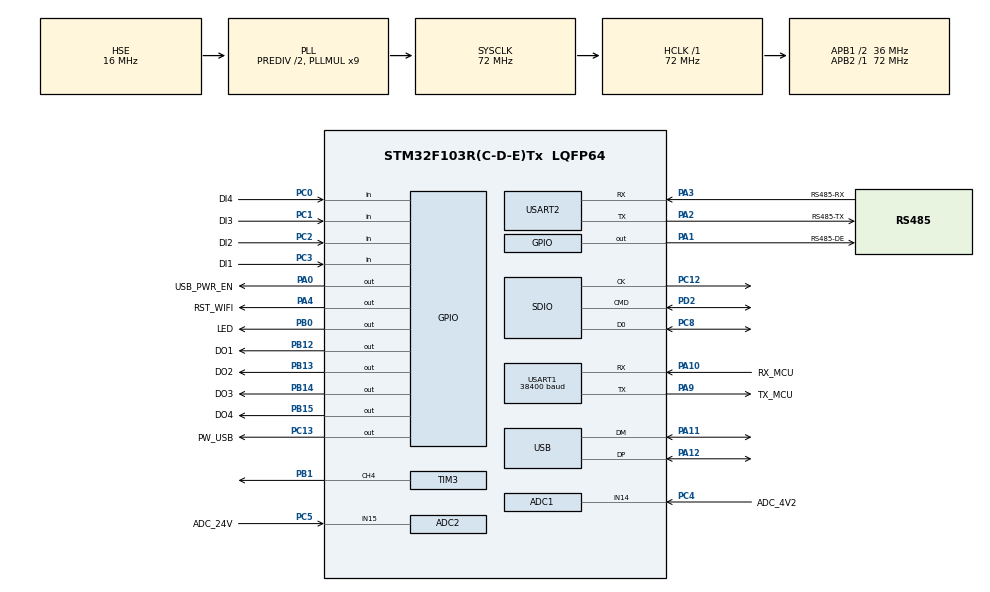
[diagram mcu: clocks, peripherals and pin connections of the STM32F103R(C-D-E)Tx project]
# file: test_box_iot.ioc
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ADC1.Channel-0\#ChannelRegularConversion=ADC_CHANNEL_14
ADC1.NbrOfConversionFlag=1
ADC1.Rank-0\#ChannelRegularConversion=1
ADC1.SamplingTime-0\#ChannelRegularConversion=ADC_SAMPLETIME_239CYCLES_5
ADC1.master=1
ADC2.Channel-0\#ChannelRegularConversion=ADC_CHANNEL_15
ADC2.NbrOfConversionFlag=1
ADC2.Rank-0\#ChannelRegularConversion=1
ADC2.SamplingTime-0\#ChannelRegularConversion=ADC_SAMPLETIME_239CYCLES_5
FATFS._MAX_SS=1024
IWDG.Prescaler=IWDG_PRESCALER_256
Mcu.Family=STM32F1
Mcu.Name=STM32F103R(C-D-E)Tx
Mcu.Package=LQFP64
NVIC.PriorityGroup=NVIC_PRIORITYGROUP_4
NVIC.SDIO_IRQn=true\:0\:0\:false\:false\:true\:true\:true\:true
NVIC.USART1_IRQn=true\:0\:0\:false\:false\:true\:true\:true\:true
NVIC.USB_HP_CAN1_TX_IRQn=true\:0\:0\:false\:false\:true\:true\:true\:true
NVIC.USB_LP_CAN1_RX0_IRQn=true\:0\:0\:false\:false\:true\:false\:true\:true
PA0-WKUP.GPIO_Label=USB_PWR_EN
PA0-WKUP.PinState=GPIO_PIN_SET
PA0-WKUP.Signal=GPIO_Output
PA1.GPIO_Label=RS485-DE
PA1.Signal=GPIO_Output
PA10.GPIO_Label=RX_MCU
PA10.Mode=Asynchronous
PA10.Signal=USART1_RX
PA11.Mode=Device
PA11.Signal=USB_DM
PA12.Mode=Device
PA12.Signal=USB_DP
PA13.Mode=Serial_Wire
PA13.Signal=SYS_JTMS-SWDIO
PA14.Mode=Serial_Wire
PA14.Signal=SYS_JTCK-SWCLK
PA2.GPIO_Label=RS485-TX
PA2.Mode=Asynchronous
PA2.Signal=USART2_TX
PA3.GPIO_Label=RS485-RX
PA3.Mode=Asynchronous
PA3.Signal=USART2_RX
PA4.GPIO_Label=RST_WIFI
PA4.PinState=GPIO_PIN_SET
PA4.Signal=GPIO_Output
PA9.GPIO_Label=TX_MCU
PA9.Mode=Asynchronous
PA9.Signal=USART1_TX
PB0.GPIO_Label=LED
PB0.Signal=GPIO_Output
PB1.Signal=S_TIM3_CH4
PB12.GPIO_Label=DO1
PB12.Signal=GPIO_Output
PB13.GPIO_Label=DO2
PB13.Signal=GPIO_Output
PB14.GPIO_Label=DO3
PB14.Signal=GPIO_Output
PB15.GPIO_Label=DO4
PB15.Signal=GPIO_Output
PC0.GPIO_Label=DI4
PC0.Signal=GPIO_Input
PC1.GPIO_Label=DI3
PC1.Signal=GPIO_Input
PC12.Mode=SD_1_bit
PC12.Signal=SDIO_CK
PC13-TAMPER-RTC.GPIO_Label=PW_USB
PC13-TAMPER-RTC.PinState=GPIO_PIN_SET
PC13-TAMPER-RTC.Signal=GPIO_Output
PC2.GPIO_Label=DI2
PC2.Signal=GPIO_Input
PC3.GPIO_Label=DI1
PC3.Signal=GPIO_Input
PC4.GPIO_Label=ADC_4V2
PC4.Signal=ADCx_IN14
PC5.GPIO_Label=ADC_24V
PC5.Signal=ADCx_IN15
PC8.Mode=SD_1_bit
PC8.Signal=SDIO_D0
PD0-OSC_IN.Mode=HSE-External-Oscillator
PD0-OSC_IN.Signal=RCC_OSC_IN
PD1-OSC_OUT.Mode=HSE-External-Oscillator
PD1-OSC_OUT.Signal=RCC_OSC_OUT
PD2.Mode=SD_1_bit
PD2.Signal=SDIO_CMD
ProjectManager.HeapSize=0x200
ProjectManager.StackSize=0x400
ProjectManager.TargetToolchain=STM32CubeIDE
RCC.ADCPresc=RCC_ADCPCLK2_DIV6
RCC.AHBFreq_Value=72000000
RCC.APB1CLKDivider=RCC_HCLK_DIV2
RCC.APB1Freq_Value=36000000
RCC.APB1TimFreq_Value=72000000
RCC.APB2Freq_Value=72000000
RCC.APB2TimFreq_Value=72000000
RCC.HCLKFreq_Value=72000000
RCC.HSEDivPLL=RCC_HSE_PREDIV_DIV2
RCC.HSE_VALUE=16000000
RCC.PLLMUL=RCC_PLL_MUL9
RCC.PLLSourceVirtual=RCC_PLLSOURCE_HSE
RCC.RTCClockSelection=RCC_RTCCLKSOURCE_HSE_DIV128
RCC.SYSCLKFreq_VALUE=72000000
RCC.SYSCLKSource=RCC_SYSCLKSOURCE_PLLCLK
RCC.USBFreq_Value=48000000
RCC.USBPrescaler=RCC_USBCLKSOURCE_PLL_DIV1_5
SDIO.ClockDiv=16
SH.ADCx_IN14.0=ADC1_IN14,IN14
SH.ADCx_IN15.0=ADC2_IN15,IN15
SH.S_TIM3_CH4.0=TIM3_CH4,PWM Generation4 CH4
TIM3.Channel-PWM\ Generation4\ CH4=TIM_CHANNEL_4
TIM3.Period=2000-1
TIM3.Prescaler=18000-1
USART1.BaudRate=38400
USART1.Parity=PARITY_NONE
USART1.VirtualMode=VM_ASYNC
USART2.VirtualMode=VM_ASYNC
USB.low_power_enable=DISABLE
USB.lpm_enable=DISABLE
USB_DEVICE.CLASS_NAME_FS=MSC
USB_DEVICE.MANUFACTURER_STRING=AiThings
USB_DEVICE.PRODUCT_STRING_MSC_FS=AiThings Mass Storage
USB_DEVICE.USBD_DEBUG_LEVEL=0
USB_DEVICE.USBD_SELF_POWERED=1
USB_DEVICE.VirtualMode=Msc
USB_DEVICE.VirtualModeFS=Msc_FS
VP_CRC_VS_CRC.Mode=CRC_Activate
VP_FATFS_VS_Generic.Mode=User_defined
VP_FATFS_VS_SDIO.Mode=SDIO
VP_IWDG_VS_IWDG.Mode=IWDG_Activate
VP_USB_DEVICE_VS_USB_DEVICE_MSC_FS.Mode=MSC_FS
board=custom

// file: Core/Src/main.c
/* USER CODE BEGIN Header */
/**
  ******************************************************************************
  * @file           : main.c
  * @brief          : Main program body
  ******************************************************************************
  * @attention
  *
  * Copyright (c) 2024 STMicroelectronics.
  * All rights reserved.
  *
  * This software is licensed under terms that can be found in the LICENSE file
  * in the root directory of this software component.
  * If no LICENSE file comes with this software, it is provided AS-IS.
  *
  ******************************************************************************
  */
/* USER CODE END Header */
#include "main.h"
#include "fatfs.h"
#include "usb_device.h"

/* USER CODE BEGIN Includes */
#include "FAT12.h"
#include "usbd_storage_if.h"
#include "espcomm.h"
#include "usbd_core.h"
#include "FLASH_PAGE_F1.h"
#include "time.h"
#include "devicetype.h"

#define ADDR_APP_PROGRAM 0x08005000
#define CRC32_POLYNOMIAL 0x04C11DB7

extern uint8_t flag_handle_csv;
extern uint8_t buffer[];
extern uint32_t usbTick;
extern uint8_t usbStatus;
extern uint32_t g_24V_mV;
extern uint32_t g_4V2_mV;
//uint8_t usb_reconnect=0;
char g_rx1_char;
uint8_t g_debugEnable=0;
Time hallet_time={

                .year=2014,
                .month=11,
                .day = 25,
                .hour = 16,
                .minute = 47,
                .second = 30
        };
uint32_t g_NbSector;
uint8_t g_forcesend=0;
uint8_t g_isMqttPublished=0;
uint32_t g_espcomm_tick=0;
uint32_t g_device_tick=0;
uint32_t g_adc_tick=0;
LIFO_inst g_q;
uint32_t SD_DATA_SECTOR_BEGIN =0;
uint32_t SD_DATA_SECTOR_END =0;
//Dành cho ota
extern uint8_t g_ota;
extern uint8_t Timer_frame_ota;
/* USER CODE END Includes */

/* USER CODE BEGIN PTD */
volatile uint8_t SCI1_rxdone=0;
uint16_t g_rx1_cnt;
uint8_t cntTimeRev1;
char g_rx1_buffer[MAX_BUFFER_UART1];
uint8_t usb_retry=0;
//RTC_TimeTypeDef sTime = {0};
//RTC_DateTypeDef sDate={0};
/* USER CODE END PTD */

ADC_HandleTypeDef hadc1;
ADC_HandleTypeDef hadc2;

CRC_HandleTypeDef hcrc;

IWDG_HandleTypeDef hiwdg;

SD_HandleTypeDef hsd;

TIM_HandleTypeDef htim3;

UART_HandleTypeDef huart1;
UART_HandleTypeDef huart2;

void SystemClock_Config(void);
static void MX_GPIO_Init(void);
static void MX_USART1_UART_Init(void);
static void MX_USART2_UART_Init(void);
static void MX_SDIO_SD_Init(void);
static void MX_CRC_Init(void);
static void MX_TIM3_Init(void);
static void MX_ADC1_Init(void);
static void MX_ADC2_Init(void);
static void MX_IWDG_Init(void);
/* USER CODE BEGIN PFP */
Time g_time ={0};
uint16_t g_sec_flag =0;
/* USER CODE END PFP */

/* USER CODE BEGIN 0 */
void HAL_IncTick(void)
{
  uwTick += uwTickFreq;
  g_sec_flag++;
  	if(g_sec_flag==1000)
  	{
  		g_sec_flag=0;
  		g_time.second++;
  		if (g_time.second == 60)
  		{
  			g_time.second = 0;
  			g_time.minute++;
  			if (g_time.minute == 60)
  			{
  				g_time.minute = 0;
  				g_time.hour++;
  				if (g_time.hour == 24)
  				{
  					g_time.hour = 0;
  					g_time.day++;
  					if ((g_time.day == 32 && (g_time.month == 1 || g_time.month == 3 ||g_time.month == 5 ||g_time.month == 7
  					||g_time.month == 8 || g_time.month == 10 ||g_time.month == 12))
  					|| (g_time.day == 31 && (g_time.month == 4 || g_time.month == 6 ||g_time.month == 9 ||g_time.month == 11))
  					||(g_time.day == 30 && g_time.month == 2 && g_time.year % 4 == 0)
  					||(g_time.day == 29 && g_time.month == 2 && g_time.year % 4 > 0))
  					{
  						g_time.day = 1;
  						g_time.month++;
  						if (g_time.month == 13)
  						{
  							g_time.month = 1;
  							g_time.year++;
  						}
  					}
  				}
  			}
  		}
  	}
}
void HAL_UART_RxCpltCallback(UART_HandleTypeDef *huart)
{
	SCI1_rxdone=1;
	HAL_UART_Receive_IT(&huart1,(uint8_t*)&g_rx1_char,sizeof(g_rx1_char));
		if(g_rx1_cnt < MAX_BUFFER_UART1)
		{
			g_rx1_buffer[g_rx1_cnt++] = g_rx1_char;
		}
		else{
			g_rx1_cnt = 0;
			memset(g_rx1_buffer,0,sizeof(g_rx1_buffer));
		}
		cntTimeRev1 = RECV_END_TIMEOUT;
}

uint32_t crc32_table[256]={0};

// Khởi tạo bảng tra cứu CRC32
void generate_crc32_table() {
    for (uint32_t i = 0; i < 256; i++) {
        uint32_t crc = i << 24;
        for (uint32_t j = 0; j < 8; j++) {
            if (crc & 0x80000000) {
                crc = (crc << 1) ^ CRC32_POLYNOMIAL;
            } else {
                crc <<= 1;
            }
        }
        crc32_table[i] = crc;
    }
}

// Hàm tính CRC32 từ mảng bất kỳ
uint32_t calculate_crc32(const void *data, size_t length) {
    uint32_t crc = 0xFFFFFFFF; // Giá trị khởi tạo
    const uint8_t *byte_data = (const uint8_t *)data; // Chuyển dữ liệu thành mảng uint8_t

    for (size_t i = 0; i < length; i++) {
        uint8_t lookup_index = (crc >> 24) ^ byte_data[i];
        crc = (crc << 8) ^ crc32_table[lookup_index];
    }

    return crc ^ 0xFFFFFFFF; // XOR với 0xFFFFFFFF để lấy kết quả cuối
}
extern USBD_HandleTypeDef hUsbDeviceFS;
extern DWORD fre_clust,fre_sect;
/* USER CODE END 0 */

int main(void)
{

  /* USER CODE BEGIN 1 */
	SCB->VTOR = (uint32_t)ADDR_APP_PROGRAM ;
	__enable_irq();
	create_fat12_disk(buffer,STORAGE_BLK_SIZ,STORAGE_BLK_NBR );
	generate_crc32_table();

  /* USER CODE END 1 */

  /* MCU Configuration--------------------------------------------------------*/

  /* Reset of all peripherals, Initializes the Flash interface and the Systick. */
  HAL_Init();

  /* Configure the system clock */
  SystemClock_Config();

  /* Initialize all configured peripherals */
  MX_GPIO_Init();
  MX_USB_DEVICE_Init();
  MX_USART1_UART_Init();
  MX_FATFS_Init();
  MX_USART2_UART_Init();
  MX_SDIO_SD_Init();
  MX_CRC_Init();
  MX_TIM3_Init();
  MX_ADC1_Init();
  MX_ADC2_Init();
  MX_IWDG_Init();
  /* USER CODE BEGIN 2 */
  HAL_TIM_PWM_Start(&htim3, TIM_CHANNEL_4);
  htim3.Instance->CCR4 = 1000;
  EspComm_init();
  if(BSP_SD_Init()==MSD_OK)
  {
	 mqtt_debug_send("SD card available\n");
	 g_NbSector = hsd.SdCard.BlockNbr;
	 SD_DATA_SECTOR_END = g_NbSector;
	 if (g_NbSector >3*1024*1024)
		 SD_DATA_SECTOR_BEGIN = g_NbSector - 1024*1024;
	 else
		 SD_DATA_SECTOR_BEGIN = g_NbSector * 0.7;
	 SD_FATFS_Init();
	 FRESULT res =  f_mount(&SDFatFS, (TCHAR const*)SDPath,1);
	 if(res == FR_OK)
	 {
		 FRESULT res = f_getfree((TCHAR const*)SDPath, &fre_clust, &SDFatFS);
	 	if (res == FR_OK)
	 	{
	 	// Tính toán thông tin dung lượng
	 	fre_sect = fre_clust * SDFatFS.csize;          // Số sector còn trống
	 	}
	 }
  }
  else
  {
	 mqtt_debug_send("SD card not available\n");
  }
  RAM_FATFS_Init();
  LoadPointer(&g_q);
// Để hallet nhận diện lại mạch là usb vì lúc boot mạch đã nhận diện được mạch ko là usb và sẽ ko refresh
  HAL_PCD_MspDeInit(&hUsbDeviceFS);
  HAL_GPIO_WritePin(LED_GPIO_Port, LED_Pin,0);
  HAL_GPIO_WritePin(PW_USB_GPIO_Port,PW_USB_Pin,1);
  HAL_Delay(500);
  MX_USB_DEVICE_Init();
  HAL_GPIO_WritePin(LED_GPIO_Port, LED_Pin,1);
  HAL_GPIO_WritePin(PW_USB_GPIO_Port,PW_USB_Pin,0);
  HAL_Delay(500);
  HAL_GPIO_WritePin(LED_GPIO_Port, LED_Pin,0);
  HAL_GPIO_WritePin(PW_USB_GPIO_Port,PW_USB_Pin,1);
  HAL_ADCEx_Calibration_Start(&hadc1);
  HAL_ADCEx_Calibration_Start(&hadc2);
  VoltMeasure();
  /* USER CODE END 2 */

  /* Infinite loop */
  /* USER CODE BEGIN WHILE */
  while (1)
  {
	  HAL_IWDG_Refresh(&hiwdg);
	  if(HAL_GetTick()-g_espcomm_tick>ESP_COMM_PERIOD)
	  {
		  HAL_IWDG_Refresh(&hiwdg);
		  EspCmdHandler();
		  g_espcomm_tick = HAL_GetTick();
	  }
	  if((HAL_GetTick()-g_device_tick>DEVICE_HANDLER_PERIOD) && (g_ota==0||Timer_frame_ota == 0) )
	  {
		  HAL_IWDG_Refresh(&hiwdg);
		  Device_Handler();
//		  if(HAL_GPIO_ReadPin(LED_GPIO_Port, LED_Pin) == 0)
//			  {
//			  	  //cần xử lý lại cho mượt tránh ảnh hưởng đến kết thúc ota
//			  	  HAL_GPIO_WritePin(LED_GPIO_Port, LED_Pin,1);
//			  }
		  g_device_tick = HAL_GetTick();
		  // Reset usb khi mất kết nối 60s
		  if(HAL_GetTick()-usbTick > 60000 && usbStatus == 1)
		  {
			  mqtt_debug_send("Usb reset\n");
			  usbTick = HAL_GetTick();
			  usb_retry ++;
			  if(usb_retry>=6) HAL_NVIC_SystemReset();
			  HAL_GPIO_WritePin(LED_GPIO_Port, LED_Pin,1);
			  HAL_GPIO_WritePin(PW_USB_GPIO_Port,PW_USB_Pin,0);
			  HAL_PCD_MspDeInit(&hUsbDeviceFS);
			  MX_USB_DEVICE_Init();
			  HAL_Delay(1000);
			  HAL_GPIO_WritePin(LED_GPIO_Port, LED_Pin,0);
			  HAL_GPIO_WritePin(PW_USB_GPIO_Port,PW_USB_Pin,1);

		  }
		  else if(HAL_GetTick()-usbTick < 60000 && usbStatus == 1 && usb_retry==0){
			  BlinkLed(1);
		  }
	  }
	  if(HAL_GetTick()-g_adc_tick>3000)
	  {
		  HAL_IWDG_Refresh(&hiwdg);
		  VoltMeasure();
		  g_adc_tick = HAL_GetTick();
	  }

    /* USER CODE END WHILE */

  }
}

void SystemClock_Config(void)
{
  RCC_OscInitTypeDef RCC_OscInitStruct = {0};
  RCC_ClkInitTypeDef RCC_ClkInitStruct = {0};
  RCC_PeriphCLKInitTypeDef PeriphClkInit = {0};

  /** Initializes the RCC Oscillators according to the specified parameters
  * in the RCC_OscInitTypeDef structure.
  */
  RCC_OscInitStruct.OscillatorType = RCC_OSCILLATORTYPE_LSI|RCC_OSCILLATORTYPE_HSE;
  RCC_OscInitStruct.HSEState = RCC_HSE_ON;
  RCC_OscInitStruct.HSEPredivValue = RCC_HSE_PREDIV_DIV2;
  RCC_OscInitStruct.HSIState = RCC_HSI_ON;
  RCC_OscInitStruct.LSIState = RCC_LSI_ON;
  RCC_OscInitStruct.PLL.PLLState = RCC_PLL_ON;
  RCC_OscInitStruct.PLL.PLLSource = RCC_PLLSOURCE_HSE;
  RCC_OscInitStruct.PLL.PLLMUL = RCC_PLL_MUL9;
  if (HAL_RCC_OscConfig(&RCC_OscInitStruct) != HAL_OK)
  {
    Error_Handler();
  }

  /** Initializes the CPU, AHB and APB buses clocks
  */
  RCC_ClkInitStruct.ClockType = RCC_CLOCKTYPE_HCLK|RCC_CLOCKTYPE_SYSCLK
                              |RCC_CLOCKTYPE_PCLK1|RCC_CLOCKTYPE_PCLK2;
  RCC_ClkInitStruct.SYSCLKSource = RCC_SYSCLKSOURCE_PLLCLK;
  RCC_ClkInitStruct.AHBCLKDivider = RCC_SYSCLK_DIV1;
  RCC_ClkInitStruct.APB1CLKDivider = RCC_HCLK_DIV2;
  RCC_ClkInitStruct.APB2CLKDivider = RCC_HCLK_DIV1;

  if (HAL_RCC_ClockConfig(&RCC_ClkInitStruct, FLASH_LATENCY_2) != HAL_OK)
  {
    Error_Handler();
  }
  PeriphClkInit.PeriphClockSelection = RCC_PERIPHCLK_ADC|RCC_PERIPHCLK_USB;
  PeriphClkInit.AdcClockSelection = RCC_ADCPCLK2_DIV6;
  PeriphClkInit.UsbClockSelection = RCC_USBCLKSOURCE_PLL_DIV1_5;
  if (HAL_RCCEx_PeriphCLKConfig(&PeriphClkInit) != HAL_OK)
  {
    Error_Handler();
  }
}

static void MX_ADC1_Init(void)
{

  ADC_ChannelConfTypeDef sConfig = {0};

  /** Common config
  */
  hadc1.Instance = ADC1;
  hadc1.Init.ScanConvMode = ADC_SCAN_DISABLE;
  hadc1.Init.ContinuousConvMode = DISABLE;
  hadc1.Init.DiscontinuousConvMode = DISABLE;
  hadc1.Init.ExternalTrigConv = ADC_SOFTWARE_START;
  hadc1.Init.DataAlign = ADC_DATAALIGN_RIGHT;
  hadc1.Init.NbrOfConversion = 1;
  if (HAL_ADC_Init(&hadc1) != HAL_OK)
  {
    Error_Handler();
  }

  /** Configure Regular Channel
  */
  sConfig.Channel = ADC_CHANNEL_14;
  sConfig.Rank = ADC_REGULAR_RANK_1;
  sConfig.SamplingTime = ADC_SAMPLETIME_239CYCLES_5;
  if (HAL_ADC_ConfigChannel(&hadc1, &sConfig) != HAL_OK)
  {
    Error_Handler();
  }

}

static void MX_ADC2_Init(void)
{

  ADC_ChannelConfTypeDef sConfig = {0};

  /** Common config
  */
  hadc2.Instance = ADC2;
  hadc2.Init.ScanConvMode = ADC_SCAN_DISABLE;
  hadc2.Init.ContinuousConvMode = DISABLE;
  hadc2.Init.DiscontinuousConvMode = DISABLE;
  hadc2.Init.ExternalTrigConv = ADC_SOFTWARE_START;
  hadc2.Init.DataAlign = ADC_DATAALIGN_RIGHT;
  hadc2.Init.NbrOfConversion = 1;
  if (HAL_ADC_Init(&hadc2) != HAL_OK)
  {
    Error_Handler();
  }

  /** Configure Regular Channel
  */
  sConfig.Channel = ADC_CHANNEL_15;
  sConfig.Rank = ADC_REGULAR_RANK_1;
  sConfig.SamplingTime = ADC_SAMPLETIME_239CYCLES_5;
  if (HAL_ADC_ConfigChannel(&hadc2, &sConfig) != HAL_OK)
  {
    Error_Handler();
  }

}

static void MX_CRC_Init(void)
{

  hcrc.Instance = CRC;
  if (HAL_CRC_Init(&hcrc) != HAL_OK)
  {
    Error_Handler();
  }

}

static void MX_IWDG_Init(void)
{

  hiwdg.Instance = IWDG;
  hiwdg.Init.Prescaler = IWDG_PRESCALER_256;
  hiwdg.Init.Reload = 4095;
  if (HAL_IWDG_Init(&hiwdg) != HAL_OK)
  {
    Error_Handler();
  }

}

static void MX_SDIO_SD_Init(void)
{

  hsd.Instance = SDIO;
  hsd.Init.ClockEdge = SDIO_CLOCK_EDGE_RISING;
  hsd.Init.ClockBypass = SDIO_CLOCK_BYPASS_DISABLE;
  hsd.Init.ClockPowerSave = SDIO_CLOCK_POWER_SAVE_DISABLE;
  hsd.Init.BusWide = SDIO_BUS_WIDE_1B;
  hsd.Init.HardwareFlowControl = SDIO_HARDWARE_FLOW_CONTROL_DISABLE;
  hsd.Init.ClockDiv = 16;

}

static void MX_TIM3_Init(void)
{

  TIM_MasterConfigTypeDef sMasterConfig = {0};
  TIM_OC_InitTypeDef sConfigOC = {0};

  htim3.Instance = TIM3;
  htim3.Init.Prescaler = 18000-1;
  htim3.Init.CounterMode = TIM_COUNTERMODE_UP;
  htim3.Init.Period = 2000-1;
  htim3.Init.ClockDivision = TIM_CLOCKDIVISION_DIV1;
  htim3.Init.AutoReloadPreload = TIM_AUTORELOAD_PRELOAD_DISABLE;
  if (HAL_TIM_PWM_Init(&htim3) != HAL_OK)
  {
    Error_Handler();
  }
  sMasterConfig.MasterOutputTrigger = TIM_TRGO_RESET;
  sMasterConfig.MasterSlaveMode = TIM_MASTERSLAVEMODE_DISABLE;
  if (HAL_TIMEx_MasterConfigSynchronization(&htim3, &sMasterConfig) != HAL_OK)
  {
    Error_Handler();
  }
  sConfigOC.OCMode = TIM_OCMODE_PWM1;
  sConfigOC.Pulse = 0;
  sConfigOC.OCPolarity = TIM_OCPOLARITY_HIGH;
  sConfigOC.OCFastMode = TIM_OCFAST_DISABLE;
  if (HAL_TIM_PWM_ConfigChannel(&htim3, &sConfigOC, TIM_CHANNEL_4) != HAL_OK)
  {
    Error_Handler();
  }
  HAL_TIM_MspPostInit(&htim3);

}

static void MX_USART1_UART_Init(void)
{

  huart1.Instance = USART1;
  huart1.Init.BaudRate = 38400;
  huart1.Init.WordLength = UART_WORDLENGTH_8B;
  huart1.Init.StopBits = UART_STOPBITS_1;
  huart1.Init.Parity = UART_PARITY_NONE;
  huart1.Init.Mode = UART_MODE_TX_RX;
  huart1.Init.HwFlowCtl = UART_HWCONTROL_NONE;
  huart1.Init.OverSampling = UART_OVERSAMPLING_16;
  if (HAL_UART_Init(&huart1) != HAL_OK)
  {
    Error_Handler();
  }

}

static void MX_USART2_UART_Init(void)
{

  huart2.Instance = USART2;
  huart2.Init.BaudRate = 115200;
  huart2.Init.WordLength = UART_WORDLENGTH_8B;
  huart2.Init.StopBits = UART_STOPBITS_1;
  huart2.Init.Parity = UART_PARITY_NONE;
  huart2.Init.Mode = UART_MODE_TX_RX;
  huart2.Init.HwFlowCtl = UART_HWCONTROL_NONE;
  huart2.Init.OverSampling = UART_OVERSAMPLING_16;
  if (HAL_UART_Init(&huart2) != HAL_OK)
  {
    Error_Handler();
  }

}

static void MX_GPIO_Init(void)
{
  GPIO_InitTypeDef GPIO_InitStruct = {0};

  /* GPIO Ports Clock Enable */
  __HAL_RCC_GPIOC_CLK_ENABLE();
  __HAL_RCC_GPIOD_CLK_ENABLE();
  __HAL_RCC_GPIOA_CLK_ENABLE();
  __HAL_RCC_GPIOB_CLK_ENABLE();

  /*Configure GPIO pin Output Level */
  HAL_GPIO_WritePin(PW_USB_GPIO_Port, PW_USB_Pin, GPIO_PIN_SET);

  /*Configure GPIO pin Output Level */
  HAL_GPIO_WritePin(GPIOA, USB_PWR_EN_Pin|RST_WIFI_Pin, GPIO_PIN_SET);

  /*Configure GPIO pin Output Level */
  HAL_GPIO_WritePin(RS485_DE_GPIO_Port, RS485_DE_Pin, GPIO_PIN_RESET);

  /*Configure GPIO pin Output Level */
  HAL_GPIO_WritePin(GPIOB, LED_Pin|DO1_Pin|DO2_Pin|DO3_Pin
                          |DO4_Pin, GPIO_PIN_RESET);

  /*Configure GPIO pin : PW_USB_Pin */
  GPIO_InitStruct.Pin = PW_USB_Pin;
  GPIO_InitStruct.Mode = GPIO_MODE_OUTPUT_PP;
  GPIO_InitStruct.Pull = GPIO_NOPULL;
  GPIO_InitStruct.Speed = GPIO_SPEED_FREQ_LOW;
  HAL_GPIO_Init(PW_USB_GPIO_Port, &GPIO_InitStruct);

  /*Configure GPIO pins : DI4_Pin DI3_Pin DI2_Pin DI1_Pin */
  GPIO_InitStruct.Pin = DI4_Pin|DI3_Pin|DI2_Pin|DI1_Pin;
  GPIO_InitStruct.Mode = GPIO_MODE_INPUT;
  GPIO_InitStruct.Pull = GPIO_NOPULL;
  HAL_GPIO_Init(GPIOC, &GPIO_InitStruct);

  /*Configure GPIO pins : USB_PWR_EN_Pin RS485_DE_Pin RST_WIFI_Pin */
  GPIO_InitStruct.Pin = USB_PWR_EN_Pin|RS485_DE_Pin|RST_WIFI_Pin;
  GPIO_InitStruct.Mode = GPIO_MODE_OUTPUT_PP;
  GPIO_InitStruct.Pull = GPIO_NOPULL;
  GPIO_InitStruct.Speed = GPIO_SPEED_FREQ_LOW;
  HAL_GPIO_Init(GPIOA, &GPIO_InitStruct);

  /*Configure GPIO pins : LED_Pin DO1_Pin DO2_Pin DO3_Pin
                           DO4_Pin */
  GPIO_InitStruct.Pin = LED_Pin|DO1_Pin|DO2_Pin|DO3_Pin
                          |DO4_Pin;
  GPIO_InitStruct.Mode = GPIO_MODE_OUTPUT_PP;
  GPIO_InitStruct.Pull = GPIO_NOPULL;
  GPIO_InitStruct.Speed = GPIO_SPEED_FREQ_LOW;
  HAL_GPIO_Init(GPIOB, &GPIO_InitStruct);

}

/* USER CODE BEGIN 4 */
void VoltMeasure()
{
	uint32_t ADC_24V;
	uint32_t ADC_4V2;
	HAL_ADC_Start(&hadc1);
	// Chờ quá trình chuyển đổi hoàn thành (Timeout = 10ms)
	if (HAL_ADC_PollForConversion(&hadc1,10) == HAL_OK) {
	    // Đọc giá trị ADC
		ADC_4V2 = HAL_ADC_GetValue(&hadc1);
		g_4V2_mV = ((uint32_t)ADC_4V2 * 3300 * 2 + 2048) / 4096;
	}
	else mqtt_debug_send("Adc 4v2 error\n");
	HAL_ADC_Stop(&hadc1);
	HAL_ADC_Start(&hadc2);
	if (HAL_ADC_PollForConversion(&hadc2,10) == HAL_OK) {
		    // Đọc giá trị ADC
		ADC_24V = HAL_ADC_GetValue(&hadc2);
		g_24V_mV = ((uint32_t)ADC_24V * 3300 * 11 + 2048) / 4096;
	}
	else mqtt_debug_send("Adc 24v error\n");
	HAL_ADC_Stop(&hadc2);

}
void BlinkLed(uint8_t blink_time)
{
	static uint32_t blink_tick =0;
	if(HAL_GetTick() - blink_tick > blink_time*1000 )
	{
		blink_tick= HAL_GetTick();
		HAL_GPIO_TogglePin(LED_GPIO_Port, LED_Pin);
	}
}
/* USER CODE END 4 */

void Error_Handler(void)
{
  /* USER CODE BEGIN Error_Handler_Debug */
  /* User can add his own implementation to report the HAL error return state */
  __disable_irq();
  HAL_NVIC_SystemReset();
  while (1)
  {
  }
  /* USER CODE END Error_Handler_Debug */
}
